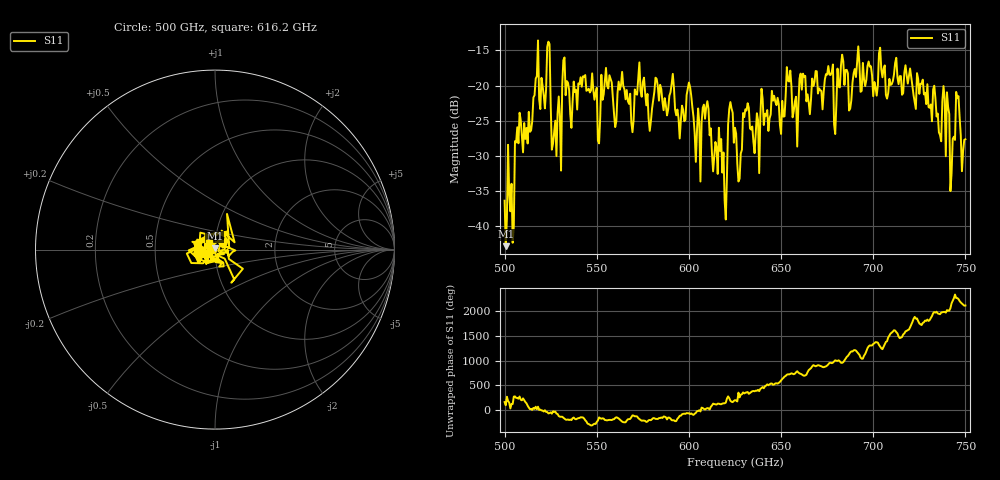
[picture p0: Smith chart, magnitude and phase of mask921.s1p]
!Created with skrf (http://scikit-rf.org).
# GHz S MA R 50.0
!freq magS11 angS11
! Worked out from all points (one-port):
!   401 points, 500 GHz to 750 GHz, reference 50 ohm
!   lowest |S11| = -42.9 dB at 500.6 GHz (marker M1), VSWR 1.01, Z = 49.9 + j0.701 ohm
!   |S11| at or under -10 dB: start of sweep to end of sweep
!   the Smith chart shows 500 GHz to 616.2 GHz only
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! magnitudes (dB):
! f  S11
! 500 GHz  -36.4
! 500.6 GHz  -42.9
! 503.8 GHz  -34.0
! 506.9 GHz  -26.0
! 513.8 GHz  -26.6
! 516.9 GHz  -19.0
! 523.8 GHz  -13.7
! 526.9 GHz  -26.6
! 531.2 GHz  -19.9
! 562.5 GHz  -20.6
! 593.8 GHz  -23.4
! 600 GHz  -19.6
! 605 GHz  -23.3
! 609.4 GHz  -23.1
! 619.4 GHz  -36.4
! 622.5 GHz  -22.4
! 625 GHz  -26.0
! 627.5 GHz  -33.3
! 630.6 GHz  -23.4
! 636.9 GHz  -24.0
! 656.2 GHz  -24.5
! 687.5 GHz  -23.3
! 691.2 GHz  -16.7
! 718.8 GHz  -19.7
! 739.4 GHz  -30.1
! 743.1 GHz  -27.6
! 745.6 GHz  -21.8
! 750 GHz  -27.7
